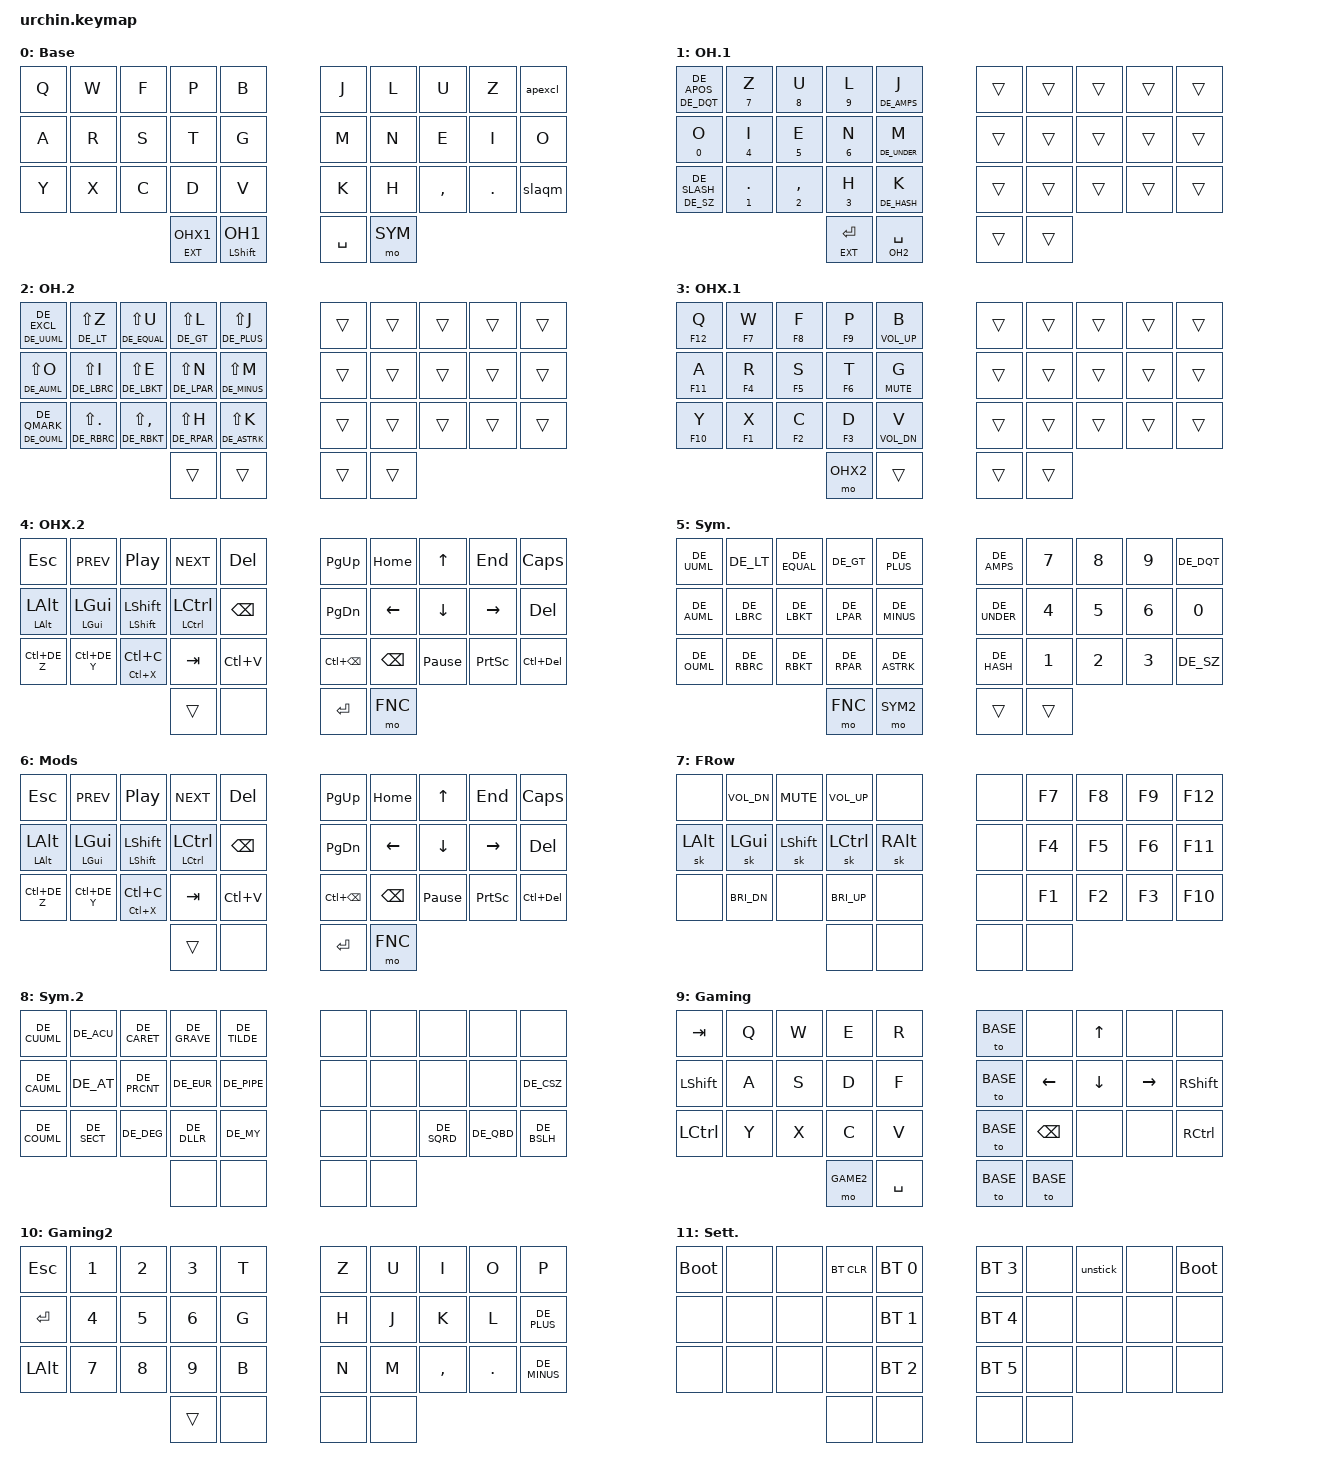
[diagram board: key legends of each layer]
/*
 * Copyright (c) 2020 duckyb
 *
 * SPDX-License-Identifier: MIT
 */

#include <behaviors.dtsi>
#include <dt-bindings/zmk/keys.h>
#include <dt-bindings/zmk/bt.h>
#include <dt-bindings/zmk/outputs.h>
#include "keymap_german.h"

// Layer definitions
    #define BASE 0
	#define OH1 1
	#define OH2 2
	#define OHX1 3
	#define OHX2 4
    #define SYM 5
    #define EXT 6
    #define FNC 7
    #define SYM2 8
	#define GAME 9
	#define GAME2 10
	#define SETTINGS 11
// -----------------

// combo macro definition
#define COMBO(NAME, BINDINGS, KEYPOS, LAYERS) \
  	combo_##NAME { \
    	timeout-ms = <50>; \
    	bindings = <BINDINGS>; \
    	key-positions = <KEYPOS>; \
    	layers = <LAYERS>; \
	};

&sk {
    // don't release mods on other mods presses
    ignore-modifiers;
};
&sl {
    release-after-ms = <1000>;
};

/ {
	behaviors {
        apexcl: apos_excl {
            compatible = "zmk,behavior-mod-morph";
            label = "APOS_EXCL";
            #binding-cells = <0>;
            bindings = <&kp DE_APOS>, <&kp DE_EXCL>;
            mods = <(MOD_LSFT|MOD_RSFT)>;
        };
        slaqm: slash_qmark {
            compatible = "zmk,behavior-mod-morph";
            label = "SLASH_QMARK";
            #binding-cells = <0>;
            bindings = <&kp DE_SLASH>, <&kp DE_QMARK>;
            mods = <(MOD_LSFT|MOD_RSFT)>;
        };

		kp_sl: behavior_kp_sl {
            compatible = "zmk,behavior-hold-tap";
            label = "kp_sl";
            #binding-cells = <2>;
            flavor = "hold-preferred";
            tapping-term-ms = <180>;
            bindings = <&kp>, <&sl>;
        };

		mo_sl: behavior_mo_sl {
            compatible = "zmk,behavior-hold-tap";
            label = "mo_sl";
            #binding-cells = <2>;
            flavor = "hold-preferred";
            tapping-term-ms = <180>;
            bindings = <&mo>, <&sl>;
        };

		mo_kp: behavior_mo_kp {
            compatible = "zmk,behavior-hold-tap";
            label = "mo_kp";
            #binding-cells = <2>;
            flavor = "hold-preferred";
            tapping-term-ms = <180>;
            bindings = <&mo>, <&kp>;
        };

		ht: hold_tap {
            compatible = "zmk,behavior-hold-tap";
            label = "HOLD_TAP";
            #binding-cells = <2>;
            tapping_term_ms = <135>;
            quick_tap_ms = <0>;
            flavor = "tap-preferred";
            bindings = <&kp>, <&kp>;
        }; 

		// separate sticky behavior for lazy keys
		sk_lazy: behavior_sk_lazy {
			compatible = "zmk,behavior-sticky-key";
			label = "sk_lazy";
			#binding-cells = <1>;
			bindings = <&kp>;
    		release-after-ms = <1000>;
    		ignore-modifiers;
			lazy;
		};

		// for alt key
		sk_nl: behaviour_sk_nolazy_hold {
			compatible = "zmk,behavior-hold-tap";
            label = "sk_nl";
            #binding-cells = <2>;
            flavor = "tap-preferred";
            tapping-term-ms = <180>;
            bindings = <&kp>, <&sk>;
			hold-while-undecided;
			hold-while-undecided-linger;
		};

		// for shift + ctrl keys 
		sk_lh: behaviour_sk_lazy_hold {
			compatible = "zmk,behavior-hold-tap";
            label = "sk_lh";
            #binding-cells = <2>;
            flavor = "tap-preferred";
            tapping-term-ms = <180>;
            bindings = <&kp>, <&sk_lazy>;
			hold-while-undecided;
		};

		// for gui key
		sk_nh: behaviour_sk_lazy_nohold {
			compatible = "zmk,behavior-hold-tap";
            label = "sk_nh";
            #binding-cells = <2>;
            flavor = "tap-preferred";
            tapping-term-ms = <180>;
            bindings = <&kp>, <&sk_lazy>;
		};
    };
	
    macros {
		// sometimes my device thinks a modifier is being held down
		// pressing all modifiers fixes it.
		unstick: unstick {
			label = "ZM_unstick";
			compatible = "zmk,behavior-macro";
			#binding-cells = <0>;
			bindings = <&kp LSHIFT &kp RSHIFT &kp LCTRL &kp RCTRL &kp LALT &kp RALT &kp LGUI &kp RGUI>;
		};
    };

    combos {
		compatible = "zmk,combos";

		COMBO(game, &to GAME, 32 33, BASE)
		COMBO(sym2, &mo SYM2, 31 33, BASE SYM EXT FNC SYM2)
		COMBO(settings, &mo SETTINGS, 30 31, BASE SYM EXT FNC SYM2 SETTINGS)

		COMBO(acu, &kp DE_ACU, 0 1, OH1)
		COMBO(caret, &kp DE_CARET, 1 2, OH1)
		COMBO(grave, &kp DE_GRAVE, 2 3, OH1)
		COMBO(tilde, &kp DE_TILDE, 3 4, OH1)
		COMBO(at, &kp DE_AT, 10 11, OH1)
		COMBO(prcnt, &kp DE_PRCNT, 11 12, OH1)
		COMBO(eur, &kp DE_EUR, 12 13, OH1)
		COMBO(pipe, &kp DE_PIPE, 13 14, OH1)
		COMBO(sect, &kp DE_SECT, 20 21, OH1)
		COMBO(deg, &kp DE_DEG, 21 22, OH1)
		COMBO(dllr, &kp DE_DLLR, 22 23, OH1)
		COMBO(my, &kp DE_MY, 23 24, OH1)
		COMBO(csz, &kp DE_CSZ, 0 10, OH1)
		COMBO(bslh, &kp DE_BSLH, 10 20, OH1)
		COMBO(sqrd, &kp DE_SQRD, 12 22, OH1)
		COMBO(qbd, &kp DE_QBD, 13 23, OH1)

		COMBO(cuuml, &kp DE_CUUML, 0 1, OH2)
		COMBO(cauml, &kp DE_CAUML, 10 11, OH2)
		COMBO(couml, &kp DE_COUML, 20 21, OH2)

		COMBO(up, &kp UP, 2 3, OH2)
		COMBO(left, &kp LEFT, 11 12, OH2)
		COMBO(right, &kp RIGHT, 12 13, OH2)
		COMBO(down, &kp DOWN, 22 23, OH2)
    };

    keymap {
		compatible = "zmk,keymap";

        // Base alpha layer
		default_layer {
			label = "Base";
			bindings = <
			&kp Q &kp W &kp F &kp P			  &kp B					&kp J     &kp L  &kp U     &kp Z   &apexcl
			&kp A &kp R &kp S &kp T			  &kp G					&kp M     &kp N  &kp E     &kp I   &kp O
			&kp Y &kp X &kp C &kp D			  &kp V					&kp K     &kp H  &kp COMMA &kp DOT &slaqm
							  &mo_sl EXT OHX1 &kp_sl LSHIFT OH1		&kp SPACE &mo SYM
			>;
		};

		// Used for one handed typing
		one_handed_1_layer {
			label = "OH.1";
			bindings = <
			&ht DE_DQT DE_APOS &ht N7 Z	  &ht N8 U	   &ht N9 L			&ht DE_AMPS J			&trans &trans &trans &trans &trans
			&ht N0 O		   &ht N4 I	  &ht N5 E	   &ht N6 N			&ht DE_UNDER M			&trans &trans &trans &trans &trans
			&ht DE_SZ DE_SLASH &ht N1 DOT &ht N2 COMMA &ht N3 H			&ht DE_HASH K			&trans &trans &trans &trans &trans
													   &mo_kp EXT ENTER	&mo_kp OH2 SPACE 		&trans &trans
			>;
		};
		one_handed_2_layer {
			label = "OH.2";
			bindings = <
			&ht DE_UUML DE_EXCL  &ht DE_LT LS(Z)	 &ht DE_EQUAL LS(U)	   &ht DE_GT LS(L) 	 &ht DE_PLUS LS(J)		&trans &trans &trans &trans &trans
			&ht DE_AUML LS(O)	 &ht DE_LBRC LS(I)	 &ht DE_LBKT LS(E)	   &ht DE_LPAR LS(N) &ht DE_MINUS LS(M)		&trans &trans &trans &trans &trans
			&ht DE_OUML DE_QMARK &ht DE_RBRC LS(DOT) &ht DE_RBKT LS(COMMA) &ht DE_RPAR LS(H) &ht DE_ASTRK LS(K)		&trans &trans &trans &trans &trans
							  		 									   &trans			 &trans					&trans &trans
			>;
		};

		// Additional one handed extended layers
		one_handed_ext_1_layer {
			label = "OHX.1";
			bindings = <
			&ht F12 Q &ht F7 W &ht F8 F &ht F9 P &ht C_VOL_UP B		&trans &trans &trans &trans &trans
			&ht F11 A &ht F4 R &ht F5 S &ht F6 T &ht C_MUTE G		&trans &trans &trans &trans &trans
			&ht F10 Y &ht F1 X &ht F2 C &ht F3 D &ht C_VOL_DN V		&trans &trans &trans &trans &trans
										&mo OHX2 &trans			 	&trans &trans
			>;
		};
		// tried putting arrow keys here, but didn't work consistently. Reverting this to be the same as EXT for now
		one_handed_ext_2_layer {
			label = "OHX.2";
			bindings = <
			&kp ESC          &kp C_PREV       &kp C_PP             &kp C_NEXT         &kp DEL		&kp PG_UP    &kp HOME &kp UP          &kp END   &kp CAPS
			&sk_nl LALT LALT &sk_nh LGUI LGUI &sk_lh LSHIFT LSHIFT &sk_lh LCTRL LCTRL &kp BSPC		&kp PG_DN    &kp LEFT &kp DOWN        &kp RIGHT &kp DEL
			&kp LC(DE_Z)     &kp LC(DE_Y)	  &ht LC(X) LC(C)      &kp TAB            &kp LC(V)     &kp LC(BSPC) &kp BSPC &kp PAUSE_BREAK &kp PSCRN	&kp LC(DEL)
											                       &trans 	          &none		    &kp ENTER    &mo FNC
			>;
		};

        // Numbers and high frequency symbols
		sym_layer {
			label = "Sym.";
			bindings = <
			&kp DE_UUML &kp DE_LT 	&kp DE_EQUAL &kp DE_GT 	 &kp DE_PLUS	&kp DE_AMPS  &kp N7 &kp N8 &kp N9 &kp DE_DQT
			&kp DE_AUML &kp DE_LBRC &kp DE_LBKT  &kp DE_LPAR &kp DE_MINUS	&kp DE_UNDER &kp N4 &kp N5 &kp N6 &kp N0
			&kp DE_OUML &kp DE_RBRC	&kp DE_RBKT  &kp DE_RPAR &kp DE_ASTRK 	&kp DE_HASH  &kp N1 &kp N2 &kp N3 &kp DE_SZ
												 &mo FNC	 &mo SYM2       &trans 		 &trans
			>;
		};

        // Main modifiers and arrow keys
		ext_layer {
			label = "Mods";
			bindings = <
			&kp ESC          &kp C_PREV       &kp C_PP             &kp C_NEXT         &kp DEL		&kp PG_UP    &kp HOME &kp UP          &kp END   &kp CAPS
			&sk_nl LALT LALT &sk_nh LGUI LGUI &sk_lh LSHIFT LSHIFT &sk_lh LCTRL LCTRL &kp BSPC		&kp PG_DN    &kp LEFT &kp DOWN        &kp RIGHT &kp DEL
			&kp LC(DE_Z)     &kp LC(DE_Y)	  &ht LC(X) LC(C)      &kp TAB            &kp LC(V)     &kp LC(BSPC) &kp BSPC &kp PAUSE_BREAK &kp PSCRN	&kp LC(DEL)
											                       &trans 	          &none		    &kp ENTER    &mo FNC
			>;
		};

        // Function keys with modifiers
		fnc_layer {
			label = "FRow";
			bindings = <
			&none 	 &kp C_VOL_DN &kp C_MUTE &kp C_VOL_UP &none		&none &kp F7 &kp F8 &kp F9 &kp F12
			&sk LALT &sk LGUI 	  &sk LSHIFT &sk LCTRL 	  &sk RALT  &none &kp F4 &kp F5 &kp F6 &kp F11
			&none 	 &kp C_BRI_DN &none 	 &kp C_BRI_UP &none		&none &kp F1 &kp F2 &kp F3 &kp F10
							  	  			 &none		  &none		&none &none
			>;
		};

        // Low frequency symbols.
		symbols_2_layer {
			label = "Sym.2";
			bindings = <
			&kp DE_CUUML &kp DE_ACU  &kp DE_CARET &kp DE_GRAVE &kp DE_TILDE		&none &none &none		&none	   &none
			&kp DE_CAUML &kp DE_AT   &kp DE_PRCNT &kp DE_EUR   &kp DE_PIPE		&none &none &none 		&none 	   &kp DE_CSZ
			&kp DE_COUML &kp DE_SECT &kp DE_DEG   &kp DE_DLLR  &kp DE_MY    	&none &none &kp DE_SQRD &kp DE_QBD &kp DE_BSLH
												  &none		   &none        	&none &none 
			>;
		};

		// Used for Gaming.
		gaming_layer {
			label = "Gaming";
			bindings = <
			&kp TAB    &kp Q &kp W &kp E 	 &kp R		&to BASE &none 	  &kp UP   &none 	 &none 
			&kp LSHIFT &kp A &kp S &kp D 	 &kp F		&to BASE &kp LEFT &kp DOWN &kp RIGHT &kp RSHIFT
			&kp LCTRL  &kp Y &kp X &kp C	 &kp V		&to BASE &kp BSPC &none    &none 	 &kp RCTRL
							  	   &mo GAME2 &kp SPACE  &to BASE &to BASE 
			>;
		};
		gaming_2_layer {
			label = "Gaming2";
			bindings = <
			&kp ESC   &kp N1 &kp N2 &kp N3 &kp T	&kp Z &kp U &kp I 	  &kp O   &kp P 
			&kp ENTER &kp N4 &kp N5 &kp N6 &kp G	&kp H &kp J &kp K 	  &kp L   &kp DE_PLUS
			&kp LALT  &kp N7 &kp N8 &kp N9 &kp B	&kp N &kp M &kp COMMA &kp DOT &kp DE_MINUS
							  		&trans &none	&none &none 
			>;
		};

		// Used to change the keyboard's settings.
		settings_layer {
			label = "Sett.";
			bindings = <
			&bootloader &none &none &bt BT_CLR &bt BT_SEL 0		&bt BT_SEL 3 &none &unstick &none &bootloader 
			&none 		&none &none &none      &bt BT_SEL 1		&bt BT_SEL 4 &none &none 	&none &none
			&none 		&none &none &none      &bt BT_SEL 2		&bt BT_SEL 5 &none &none 	&none &none
									&none 	   &none			&none 		 &none 
			>;
		};
	};
};
